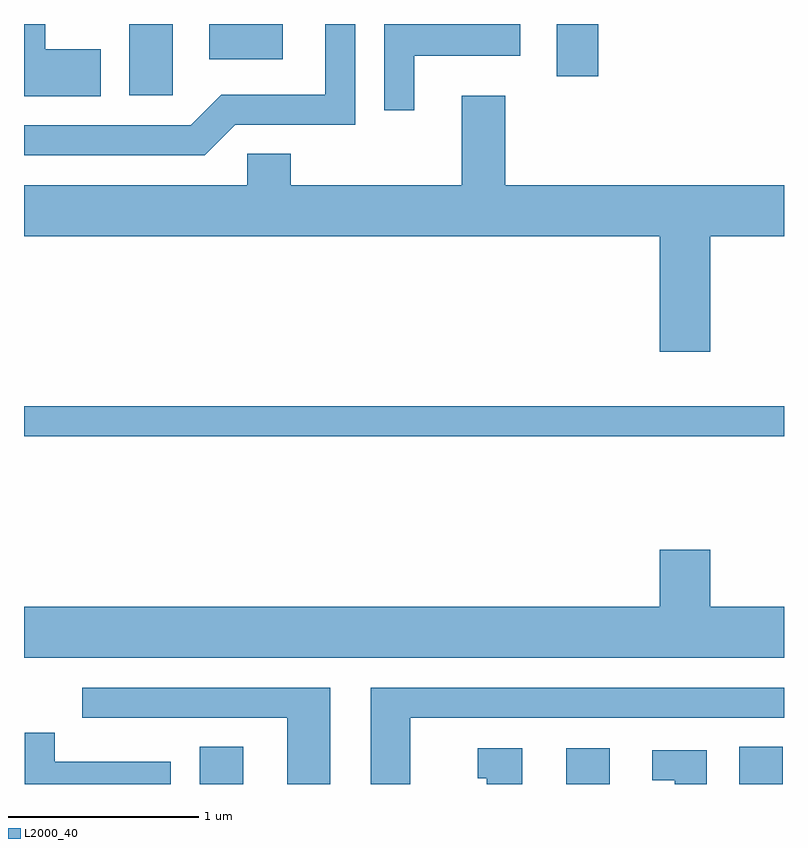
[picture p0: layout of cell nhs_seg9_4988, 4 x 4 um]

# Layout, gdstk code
import gdstk
lib = gdstk.Library(unit=1e-6, precision=1e-09)
def R(c, l, rs):  # rectangles x0, y0, x1, y1
    for r in rs: c.add(gdstk.rectangle(r[:2], r[2:], *l))
def P(c, l, *ps):  # polygons
    for p in ps: c.add(gdstk.Polygon(p, *l))
L2000_40 = (2000, 40)

nhs_seg9_4988 = lib.new_cell('nhs_seg9_4988')
R(nhs_seg9_4988, L2000_40, [(332.536,2044.432,332.764,2044.629), (334.466,2044.432,334.694,2044.619), (335.376,2044.432,335.604,2044.629), (331.611,2046.261,335.611,2046.419), (332.166,2048.056,332.394,2048.432), (334.416,2048.156,334.634,2048.432), (332.586,2048.246,332.974,2048.432)])
P(nhs_seg9_4988, L2000_40, [(333.664,2048.266),(334.224,2048.266),(334.224,2048.432),(333.506,2048.432),(333.506,2047.978),(333.664,2047.978)],
  [(332.722,2047.901),(333.354,2047.901),(333.354,2048.432),(333.196,2048.432),(333.196,2048.059),(332.649,2048.059),(332.489,2047.899),(331.611,2047.899),(331.611,2047.741),(332.562,2047.741)],
  [(332.014,2048.299),(331.724,2048.299),(331.724,2048.432),(331.611,2048.432),(331.611,2048.051),(332.014,2048.051)],
  [(335.224,2047.316),(335.611,2047.316),(335.611,2047.584),(334.144,2047.584),(334.144,2048.054),(333.916,2048.054),(333.916,2047.584),(333.014,2047.584),(333.014,2047.749),(332.786,2047.749),(332.786,2047.584),(331.611,2047.584),(331.611,2047.316),(334.956,2047.316),(334.956,2046.706),(335.224,2046.706)],
  [(335.611,2045.364),(335.224,2045.364),(335.224,2045.664),(334.956,2045.664),(334.956,2045.364),(331.611,2045.364),(331.611,2045.096),(335.611,2045.096)],
  [(333.224,2044.939),(331.918,2044.939),(331.918,2044.781),(332.996,2044.781),(332.996,2044.432),(333.224,2044.432)],
  [(333.644,2044.781),(335.611,2044.781),(335.611,2044.939),(333.436,2044.939),(333.436,2044.432),(333.644,2044.432)],
  [(332.384,2044.549),(331.774,2044.549),(331.774,2044.703),(331.616,2044.703),(331.616,2044.432),(332.384,2044.432)],
  [(334.234,2044.619),(333.998,2044.619),(333.998,2044.461),(334.046,2044.461),(334.046,2044.432),(334.234,2044.432)],
  [(335.204,2044.609),(334.918,2044.609),(334.918,2044.451),(335.036,2044.451),(335.036,2044.432),(335.204,2044.432)])

lib.write_gds('nhs_seg9_4988.gds')
